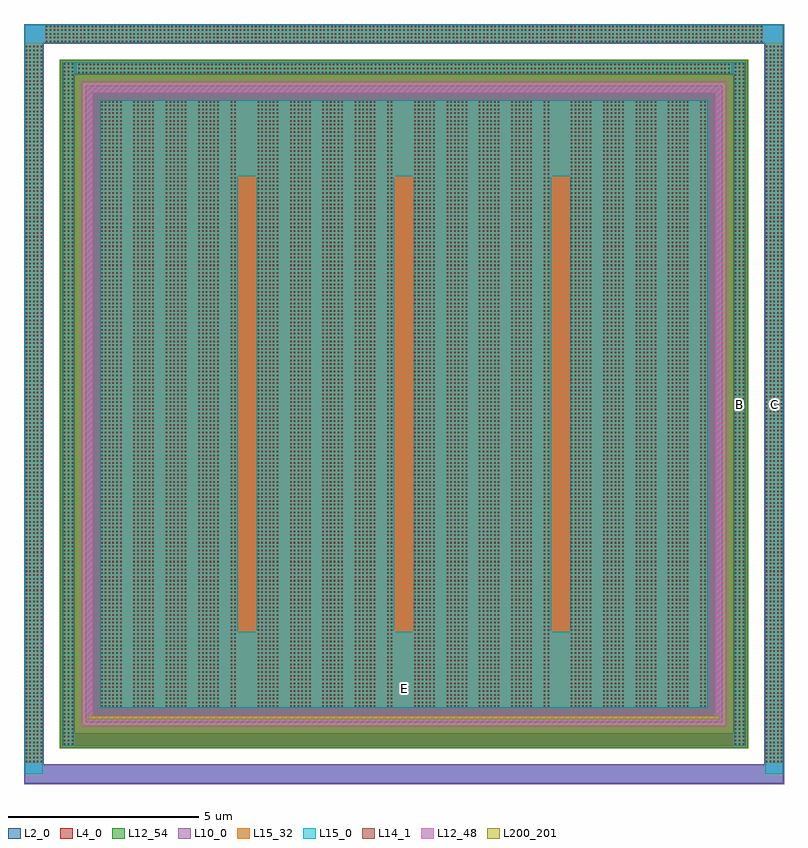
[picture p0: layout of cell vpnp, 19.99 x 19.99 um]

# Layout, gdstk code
import gdstk
lib = gdstk.Library(unit=1e-6, precision=1e-09)
def R(c, l, rs):  # rectangles x0, y0, x1, y1
    for r in rs: c.add(gdstk.rectangle(r[:2], r[2:], *l))
def A(c, l, x, y, w, h, nx, ny, dx, dy):  # array of equal rectangles
    R(c, l, [(x+i*dx, y+j*dy, x+i*dx+w, y+j*dy+h) for i in range(nx) for j in range(ny)])
L2_0 = (2, 0)
L4_0 = (4, 0)
L10_0 = (10, 0)
L12_48 = (12, 48)
L12_54 = (12, 54)
L14_1 = (14, 1)
L15_0 = (15, 0)
L15_32 = (15, 32)
L200_201 = (200, 201)

vpnp = lib.new_cell('vpnp')
R(vpnp, L2_0, [(-16.479,-8.509,3.473,-8.029), (-16.479,-8.029,-15.999,10.963), (2.993,-8.029,3.473,10.963), (-15.499,-7.529,2.493,-7.189), (-15.499,-7.189,-15.159,10.123), (2.153,-7.189,2.493,10.123), (-14.803,-6.833,1.797,9.767), (-15.499,10.123,2.493,10.463), (-16.479,10.963,3.473,11.443)])
R(vpnp, L4_0, [(-15.555,-7.585,2.549,10.519)])
R(vpnp, L10_0, [(-16.5,-8.53,3.494,-8.008), (-16.5,-8.008,-15.978,10.942), (2.972,-8.008,3.494,10.942), (-14.873,-6.903,1.867,9.837), (-16.5,10.942,3.494,11.464)])
R(vpnp, L12_48, [(-14.984,-7.014,1.978,-6.708), (-14.984,-6.708,-14.678,9.642), (1.672,-6.708,1.978,9.642), (-14.984,9.642,1.978,9.948)])
R(vpnp, L12_54, [(-15.555,-7.585,2.549,10.519)])
A(vpnp, L14_1, -16.459, -7.953, 0.04, 0.04, 5, 189, 0.1, 0.1)
A(vpnp, L14_1, 3.013, -7.953, 0.04, 0.04, 5, 189, 0.1, 0.1)
A(vpnp, L14_1, -15.449, -7.503, 0.04, 0.04, 3, 180, 0.1, 0.1)
A(vpnp, L14_1, 2.203, -7.503, 0.04, 0.04, 3, 180, 0.1, 0.1)
A(vpnp, L14_1, -14.473, -6.503, 0.04, 0.04, 6, 160, 0.1, 0.1)
A(vpnp, L14_1, -13.621, -6.503, 0.04, 0.04, 6, 160, 0.1, 0.1)
A(vpnp, L14_1, -12.769, -6.503, 0.04, 0.04, 6, 160, 0.1, 0.1)
A(vpnp, L14_1, -11.917, -6.503, 0.04, 0.04, 6, 160, 0.1, 0.1)
A(vpnp, L14_1, -11.065, -6.503, 0.04, 0.04, 1, 160, 0, 0.1)
A(vpnp, L14_1, -10.965, -6.503, 0.04, 0.04, 1, 160, 0, 0.1)
A(vpnp, L14_1, -10.354, -6.503, 0.04, 0.04, 6, 160, 0.1, 0.1)
A(vpnp, L14_1, -9.502, -6.503, 0.04, 0.04, 6, 160, 0.1, 0.1)
A(vpnp, L14_1, -8.65, -6.503, 0.04, 0.04, 6, 160, 0.1, 0.1)
A(vpnp, L14_1, -7.798, -6.503, 0.04, 0.04, 6, 160, 0.1, 0.1)
A(vpnp, L14_1, -6.946, -6.503, 0.04, 0.04, 1, 160, 0, 0.1)
A(vpnp, L14_1, -6.846, -6.503, 0.04, 0.04, 1, 160, 0, 0.1)
A(vpnp, L14_1, -6.235, -6.503, 0.04, 0.04, 6, 160, 0.1, 0.1)
A(vpnp, L14_1, -5.383, -6.503, 0.04, 0.04, 6, 160, 0.1, 0.1)
A(vpnp, L14_1, -4.531, -6.503, 0.04, 0.04, 6, 160, 0.1, 0.1)
A(vpnp, L14_1, -3.679, -6.503, 0.04, 0.04, 6, 160, 0.1, 0.1)
A(vpnp, L14_1, -2.827, -6.503, 0.04, 0.04, 1, 160, 0, 0.1)
A(vpnp, L14_1, -2.727, -6.503, 0.04, 0.04, 1, 160, 0, 0.1)
A(vpnp, L14_1, -2.116, -6.503, 0.04, 0.04, 6, 160, 0.1, 0.1)
A(vpnp, L14_1, -1.264, -6.503, 0.04, 0.04, 6, 160, 0.1, 0.1)
A(vpnp, L14_1, -0.412, -6.503, 0.04, 0.04, 6, 160, 0.1, 0.1)
A(vpnp, L14_1, 0.44, -6.503, 0.04, 0.04, 6, 160, 0.1, 0.1)
A(vpnp, L14_1, 1.292, -6.503, 0.04, 0.04, 1, 160, 0, 0.1)
A(vpnp, L14_1, 1.392, -6.503, 0.04, 0.04, 1, 160, 0, 0.1)
A(vpnp, L14_1, -15.073, 10.173, 0.04, 0.04, 172, 3, 0.1, 0.1)
A(vpnp, L14_1, -15.923, 10.983, 0.04, 0.04, 189, 5, 0.1, 0.1)
A(vpnp, L15_0, -14.491, -4.521, 3.619, 11.976, 4, 1, 4.119, 0)
R(vpnp, L15_0, [(-16.477,-8.269,-16.001,11.441), (2.995,-8.269,3.471,11.441), (-15.467,-7.521,-15.191,10.455), (2.185,-7.521,2.461,10.455), (-14.491,-6.521,1.485,-4.521), (-14.491,7.455,1.485,9.455), (-15.191,10.155,2.185,10.455), (-16.001,10.965,2.995,11.441)])
R(vpnp, L15_32, [(-16.477,-7.971,-16.001,10.965), (2.995,-7.971,3.471,10.965), (-15.467,-7.521,-15.191,10.455), (2.185,-7.521,2.461,10.455), (-14.491,-6.521,1.485,9.455), (-15.091,10.155,2.085,10.431), (-15.941,10.965,2.935,11.441)])
R(vpnp, L200_201, [(-14.803,-6.833,1.797,-6.733)])
vpnp.add(gdstk.Label('E', (-6.503,-6.021), layer=15, texttype=20))
vpnp.add(gdstk.Label('B', (2.323,1.467), layer=15, texttype=20))
vpnp.add(gdstk.Label('C', (3.233,1.467), layer=15, texttype=20))

lib.write_gds('vpnp.gds')
